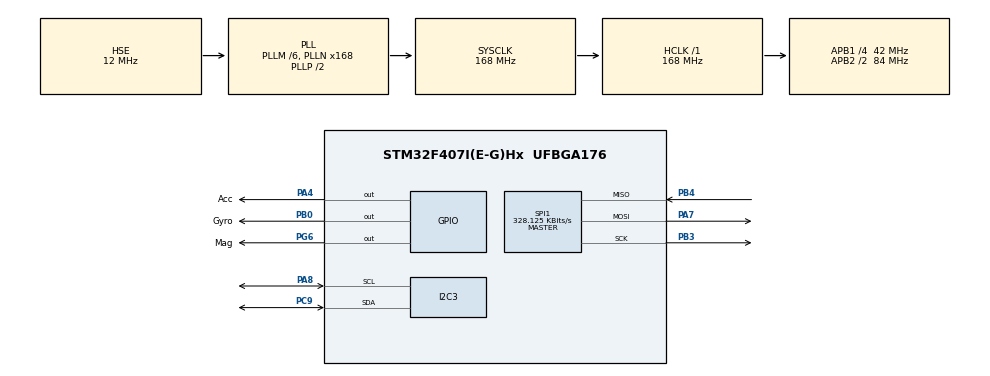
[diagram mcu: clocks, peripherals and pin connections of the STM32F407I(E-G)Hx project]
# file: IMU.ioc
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I2C3.I2C_Mode=I2C_Fast
Mcu.Family=STM32F4
Mcu.Name=STM32F407I(E-G)Hx
Mcu.Package=UFBGA176
NVIC.PriorityGroup=NVIC_PRIORITYGROUP_4
NVIC.RCC_IRQn=true\:0\:0\:false\:false\:true\:true\:false\:true
PA4.GPIO_Label=Acc
PA4.Signal=GPIO_Output
PA7.Mode=Full_Duplex_Master
PA7.Signal=SPI1_MOSI
PA8.Mode=I2C
PA8.Signal=I2C3_SCL
PB0.GPIO_Label=Gyro
PB0.Signal=GPIO_Output
PB3.Mode=Full_Duplex_Master
PB3.Signal=SPI1_SCK
PB4.Mode=Full_Duplex_Master
PB4.Signal=SPI1_MISO
PC9.Mode=I2C
PC9.Signal=I2C3_SDA
PG6.GPIO_Label=Mag
PG6.GPIO_PuPd=GPIO_PULLUP
PG6.GPIO_Speed=GPIO_SPEED_FREQ_MEDIUM
PG6.PinState=GPIO_PIN_SET
PG6.Signal=GPIO_Output
PH0-OSC_IN.Mode=HSE-External-Oscillator
PH0-OSC_IN.Signal=RCC_OSC_IN
PH1-OSC_OUT.Mode=HSE-External-Oscillator
PH1-OSC_OUT.Signal=RCC_OSC_OUT
ProjectManager.HeapSize=0x200
ProjectManager.StackSize=0x400
ProjectManager.TargetToolchain=STM32CubeIDE
RCC.48MHZClocksFreq_Value=84000000
RCC.AHBFreq_Value=168000000
RCC.APB1CLKDivider=RCC_HCLK_DIV4
RCC.APB1Freq_Value=42000000
RCC.APB1TimFreq_Value=84000000
RCC.APB2CLKDivider=RCC_HCLK_DIV2
RCC.APB2Freq_Value=84000000
RCC.APB2TimFreq_Value=168000000
RCC.CortexFreq_Value=168000000
RCC.HCLKFreq_Value=168000000
RCC.HSE_VALUE=12000000
RCC.HSI_VALUE=16000000
RCC.LSE_VALUE=32768
RCC.PLLM=6
RCC.PLLN=168
RCC.PLLSourceVirtual=RCC_PLLSOURCE_HSE
RCC.SYSCLKFreq_VALUE=168000000
RCC.SYSCLKSource=RCC_SYSCLKSOURCE_PLLCLK
RCC.VCOOutputFreq_Value=336000000
SPI1.BaudRatePrescaler=SPI_BAUDRATEPRESCALER_256
SPI1.CLKPhase=SPI_PHASE_2EDGE
SPI1.CLKPolarity=SPI_POLARITY_HIGH
SPI1.CalculateBaudRate=328.125 KBits/s
SPI1.Direction=SPI_DIRECTION_2LINES
SPI1.Mode=SPI_MODE_MASTER
SPI1.VirtualType=VM_MASTER
board=custom

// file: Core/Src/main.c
/* USER CODE BEGIN Header */
/**
  ******************************************************************************
  * @file           : main.c
  * @brief          : Main program body
  ******************************************************************************
  * @attention
  *
  * Copyright (c) 2024 STMicroelectronics.
  * All rights reserved.
  *
  * This software is licensed under terms that can be found in the LICENSE file
  * in the root directory of this software component.
  * If no LICENSE file comes with this software, it is provided AS-IS.
  *
  ******************************************************************************
  */
/* USER CODE END Header */
#include "main.h"
#include "i2c.h"
#include "spi.h"
#include "gpio.h"
#include "ist8310.h"
#include "imu.h"
#include "stdbool.h"

/* USER CODE BEGIN PV */
int16_t accelData[3];
float accelValue[3];
int16_t gyroData[3];
float gyroValue[3];
uint8_t return_data = 0x00;
uint8_t range = 0x00;
ist8310_data_t ist8310_data;
ist8310_raw_data_t meg_data;
bool InitCheck = false;
/* USER CODE END PV */

void SystemClock_Config(void);

int main(void)
{

  /* MCU Configuration--------------------------------------------------------*/

  /* Reset of all peripherals, Initializes the Flash interface and the Systick. */
  HAL_Init();

  /* Configure the system clock */
  SystemClock_Config();

  /* Initialize all configured peripherals */
  MX_GPIO_Init();
  MX_SPI1_Init();
  MX_I2C3_Init();
  /* USER CODE BEGIN 2 */
  BMI088_Init();
  BMI088_UserInit(&return_data, &range);
  IST8310_INIT(&ist8310_data);
  if(ist8310_data.meg_error == IST8310_NO_ERROR) InitCheck = true;
  /* USER CODE END 2 */

  /* Infinite loop */
  while (1)
  {

    /* USER CODE BEGIN 3 */
    BMI088_ReadAccelData(accelData, accelValue);
    BMI088_ReadGyroData(gyroData, gyroValue);
    ReadIST8310Data(&meg_data);
    HAL_Delay(100);
  }
  /* USER CODE END 3 */
}

void SystemClock_Config(void)
{
  RCC_OscInitTypeDef RCC_OscInitStruct = {0};
  RCC_ClkInitTypeDef RCC_ClkInitStruct = {0};

  /** Configure the main internal regulator output voltage
  */
  __HAL_RCC_PWR_CLK_ENABLE();
  __HAL_PWR_VOLTAGESCALING_CONFIG(PWR_REGULATOR_VOLTAGE_SCALE1);

  /** Initializes the RCC Oscillators according to the specified parameters
  * in the RCC_OscInitTypeDef structure.
  */
  RCC_OscInitStruct.OscillatorType = RCC_OSCILLATORTYPE_HSE;
  RCC_OscInitStruct.HSEState = RCC_HSE_ON;
  RCC_OscInitStruct.PLL.PLLState = RCC_PLL_ON;
  RCC_OscInitStruct.PLL.PLLSource = RCC_PLLSOURCE_HSE;
  RCC_OscInitStruct.PLL.PLLM = 6;
  RCC_OscInitStruct.PLL.PLLN = 168;
  RCC_OscInitStruct.PLL.PLLP = RCC_PLLP_DIV2;
  RCC_OscInitStruct.PLL.PLLQ = 4;
  if (HAL_RCC_OscConfig(&RCC_OscInitStruct) != HAL_OK)
  {
    Error_Handler();
  }

  /** Initializes the CPU, AHB and APB buses clocks
  */
  RCC_ClkInitStruct.ClockType = RCC_CLOCKTYPE_HCLK|RCC_CLOCKTYPE_SYSCLK
                              |RCC_CLOCKTYPE_PCLK1|RCC_CLOCKTYPE_PCLK2;
  RCC_ClkInitStruct.SYSCLKSource = RCC_SYSCLKSOURCE_PLLCLK;
  RCC_ClkInitStruct.AHBCLKDivider = RCC_SYSCLK_DIV1;
  RCC_ClkInitStruct.APB1CLKDivider = RCC_HCLK_DIV4;
  RCC_ClkInitStruct.APB2CLKDivider = RCC_HCLK_DIV2;

  if (HAL_RCC_ClockConfig(&RCC_ClkInitStruct, FLASH_LATENCY_5) != HAL_OK)
  {
    Error_Handler();
  }
}

void Error_Handler(void)
{
  __disable_irq();
  while (1)
  {
  }
}
